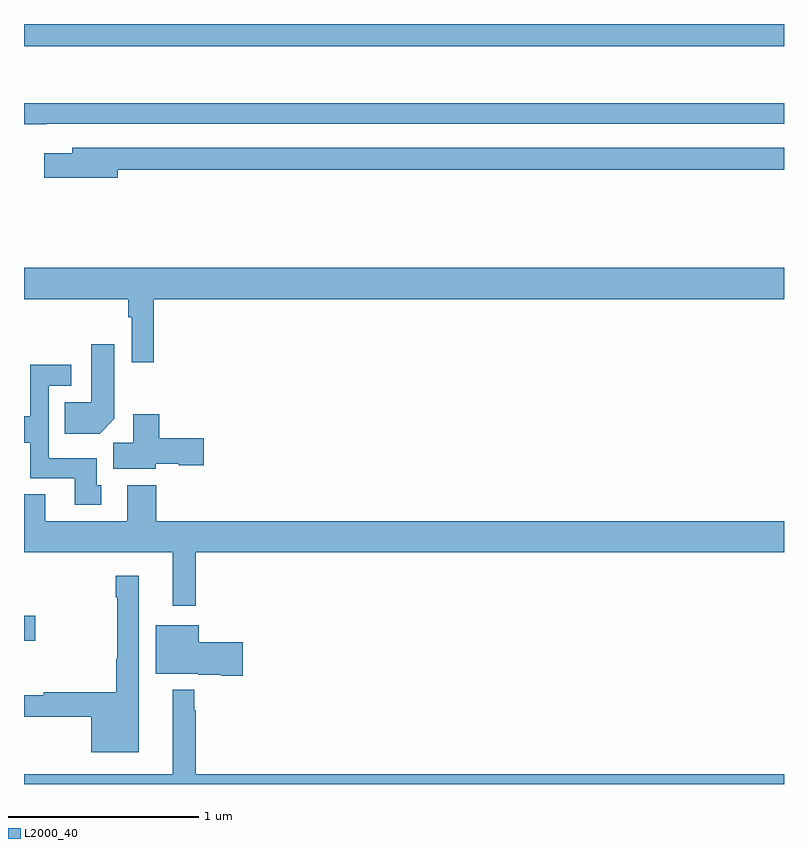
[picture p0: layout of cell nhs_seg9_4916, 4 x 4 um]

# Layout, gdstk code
import gdstk
lib = gdstk.Library(unit=1e-6, precision=1e-09)
def R(c, l, rs):  # rectangles x0, y0, x1, y1
    for r in rs: c.add(gdstk.rectangle(r[:2], r[2:], *l))
def P(c, l, *ps):  # polygons
    for p in ps: c.add(gdstk.Polygon(p, *l))
L2000_40 = (2000, 40)

nhs_seg9_4916 = lib.new_cell('nhs_seg9_4916')
R(nhs_seg9_4916, L2000_40, [(395,1229.255,395.059,1229.385), (395,1232.384,399,1232.5)])
P(nhs_seg9_4916, L2000_40, [(395.118,1231.974),(399,1231.974),(399,1232.083),(395,1232.083),(395,1231.973),(395.118,1231.973)],
  [(395.494,1231.732),(399,1231.732),(399,1231.848),(395.255,1231.848),(395.255,1231.819),(395.106,1231.819),(395.106,1231.69),(395.494,1231.69)],
  [(395.684,1231.052),(399,1231.052),(399,1231.216),(395,1231.216),(395,1231.052),(395.548,1231.052),(395.548,1230.956),(395.568,1230.956),(395.568,1230.72),(395.684,1230.72)],
  [(395.476,1230.422),(395.476,1230.814),(395.354,1230.814),(395.354,1230.508),(395.215,1230.508),(395.215,1230.344),(395.398,1230.344)],
  [(395.407,1230.072),(395.383,1230.072),(395.383,1230.214),(395.13,1230.214),(395.13,1230.597),(395.248,1230.597),(395.248,1230.706),(395.034,1230.706),(395.034,1230.436),(395,1230.436),(395,1230.296),(395.032,1230.296),(395.032,1230.11),(395.267,1230.11),(395.267,1229.97),(395.407,1229.97)],
  [(395.694,1230.185),(395.814,1230.185),(395.814,1230.178),(395.947,1230.178),(395.947,1230.32),(395.711,1230.32),(395.711,1230.445),(395.576,1230.445),(395.576,1230.296),(395.471,1230.296),(395.471,1230.158),(395.694,1230.158)],
  [(395.905,1229.72),(399,1229.72),(399,1229.884),(395.696,1229.884),(395.696,1230.073),(395.543,1230.073),(395.543,1229.884),(395.113,1229.884),(395.113,1230.025),(395,1230.025),(395,1229.72),(395.783,1229.72),(395.783,1229.439),(395.905,1229.439)],
  [(395.605,1229.596),(395.484,1229.596),(395.484,1229.483),(395.491,1229.483),(395.491,1229.159),(395.486,1229.159),(395.486,1228.982),(395.105,1228.982),(395.105,1228.967),(395,1228.967),(395,1228.854),(395.354,1228.854),(395.354,1228.667),(395.605,1228.667)],
  [(396.151,1229.247),(395.92,1229.247),(395.92,1229.335),(395.693,1229.335),(395.693,1229.081),(395.916,1229.081),(395.916,1229.075),(396.038,1229.075),(396.038,1229.069),(396.151,1229.069)],
  [(399,1228.552),(395.905,1228.552),(395.905,1228.889),(395.897,1228.889),(395.897,1228.996),(395.783,1228.996),(395.783,1228.552),(395,1228.552),(395,1228.5),(399,1228.5)])

lib.write_gds('nhs_seg9_4916.gds')
